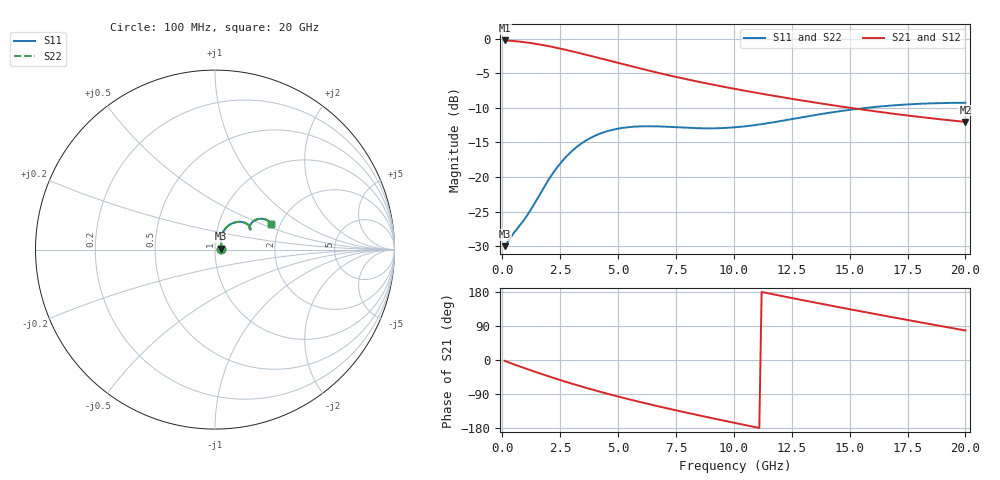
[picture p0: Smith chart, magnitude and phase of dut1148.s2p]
! Touchstone file exported from HFSS 2024.1.0
!  File:  C:/UserFiles/LocalFiles/RDL_TSV_Batchsim/temp_RDL_TSV_1148_1780116594.aedt
!  Generated:  01:06:47 PM May 30, 2026
!  Design:  RDL_TSV
!  Project:  temp_RDL_TSV_1148_1780116594
!  Setup:  Setup1
!  Solution:  Sweep
! Variables:
!  dtsv = 8.24um
!  hbump = 3um
!  htsv = 93.12um
!  ldown = 466.07um
!  lrdl = 665.63um
!  p = 40
!  p1 = 43.94um
!  rhole = 10um
!  subl = 4060.73um
!  t = 450um
!  tdown = 2.61um
!  trdl = 2.18um
!  viad = 10um
!  wdown = 17.38um
!  wrdl = 21.32um
!  xbump = 18um
# GHz S MA R 50.000000
! Terminal data exported
! Port[1] = TM1_1_T1
! Port[2] = TM1_4_T1
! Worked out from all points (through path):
!   200 points, 100 MHz to 20 GHz, reference 50 ohm
!   highest |S21| = -0.28 dB at 100 MHz (marker M1); lowest = -12.0 dB at 20 GHz (marker M2)
!   group delay of S21, straight-line fit = 37.4 ps
!   lowest |S11| = -30.0 dB at 100 MHz (marker M3), VSWR 1.07, Z = 53.2 + j0.491 ohm
!   |S11| at or under -10 dB: start of sweep to 15.75 GHz
!   |S22| runs from -30.0 to -9.3 dB; largest |S21 - S12| = 1.1e-14
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0.1  0.03169 8.4  0.9684 -2.3  0.9684 -2.3  0.03169 8.4
! Gamma 0 0 0 0
! Port Impedance 50 0 50 0
0.5  0.03952 30.2  0.9589 -11.4  0.9589 -11.4  0.03952 30.2
0.9  0.04808 44.3  0.9435 -20.2  0.9435 -20.2  0.04806 44.3
1.4  0.06483 58.4  0.9181 -30.8  0.9181 -30.8  0.06478 58.4
1.8  0.08446 64.0  0.8939 -39.1  0.8939 -39.1  0.0844 64.1
2.2  0.1073 65.2  0.8672 -47.1  0.8672 -47.1  0.1073 65.3
2.6  0.131 63.7  0.8389 -54.8  0.8389 -54.8  0.131 63.7
3  0.1536 60.6  0.8096 -62.3  0.8096 -62.3  0.1536 60.7
3.5  0.1785 55.9  0.7726 -71.4  0.7726 -71.4  0.1786 56.0
4.2  0.2051 48.9  0.7216 -83.4  0.7216 -83.4  0.2053 49.0
5.1  0.2251 41.0  0.6602 -98.0  0.6602 -98.0  0.2253 41.1
5.9  0.232 35.5  0.6109 -110.1  0.6109 -110.1  0.2323 35.6
6.8  0.2318 31.5  0.5619 -123.1  0.5619 -123.1  0.2322 31.6
7.6  0.2285 29.8  0.5239 -134.2  0.5239 -134.2  0.229 29.9
8.4  0.2254 29.7  0.4904 -144.9  0.4904 -144.9  0.226 29.8
10.1  0.229 32.9  0.4311 -166.8  0.4311 -166.8  0.2297 32.9
11.8  0.2499 35.9  0.3839 172.1  0.3839 172.1  0.2507 35.9
13.4  0.2782 36.2  0.3472 152.8  0.3472 152.8  0.279 36.2
15  0.3055 34.2  0.3164 134.0  0.3164 134.0  0.3063 34.2
16.7  0.3274 30.8  0.2892 114.6  0.2892 114.6  0.3281 30.8
18.3  0.3393 27.5  0.2682 96.7  0.2682 96.7  0.3401 27.5
20  0.3439 24.4  0.25 77.9  0.25 77.9  0.3447 24.4
